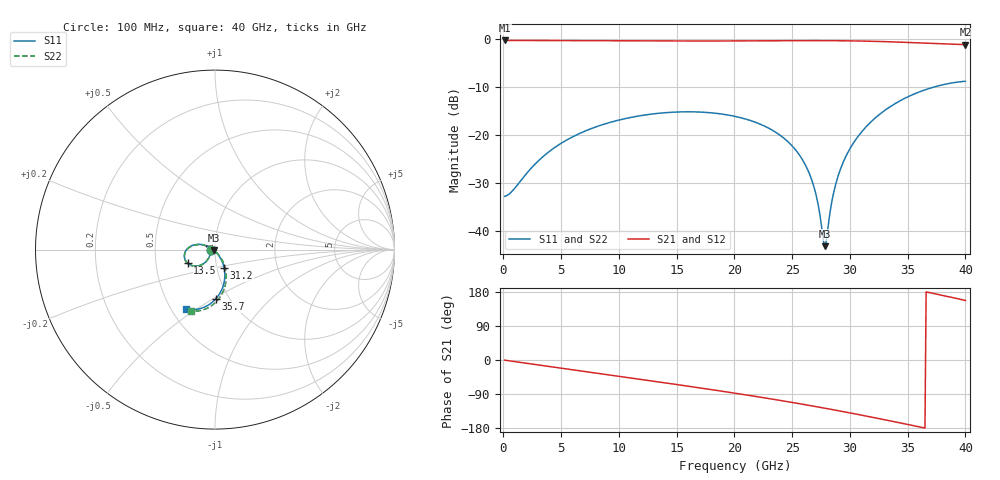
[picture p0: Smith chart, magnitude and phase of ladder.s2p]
! E_s8_L1L8_p1000_round_g4: via ladder as kisi uses it (kisi_si::via_pbm, graded grid, junction model), differential mode (per line 50 ohm)
# Hz S RI R 50
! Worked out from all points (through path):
!   400 points, 100 MHz to 40 GHz, reference 50 ohm
!   highest |S21| = -0.20 dB at 100 MHz (marker M1); lowest = -1.1 dB at 40 GHz (marker M2)
!   group delay of S21, straight-line fit = 13.8 ps
!   lowest |S11| = -43.1 dB at 27.8 GHz (marker M3), VSWR 1.01, Z = 49.5 - j0.451 ohm
!   |S11| at or under -10 dB: start of sweep to 37.17 GHz
!   |S22| runs from -43.9 to -8.7 dB; largest |S21 - S12| = 0
!   S11 on the Smith chart (normalised r, x): 100 MHz: 0.96, -0.00; 13.5 GHz: 0.73, -0.11; 31.2 GHz: 1.08, -0.23; 35.7 GHz: 0.87, -0.51; 40 GHz: 0.59, -0.45
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1e8  -0.023 -0.00148  0.977 -0.00732  0.977 -0.00732  -0.023 -0.00148
3.6e9  -0.0372 -0.0502  0.9402 -0.26  0.9402 -0.26  -0.0371 -0.0504
6.8e9  -0.0697 -0.0815  0.8487 -0.4742  0.8487 -0.4742  -0.0695 -0.082
9.9e9  -0.11 -0.0919  0.7135 -0.6544  0.7135 -0.6544  -0.1097 -0.0928
1.34e10  -0.1511 -0.0769  0.5155 -0.8152  0.5155 -0.8152  -0.1508 -0.0785
1.35e10  -0.152 -0.0761  0.5093 -0.819  0.5093 -0.819  -0.1517 -0.0777
2.01e10  -0.1571 0.0014  0.0366 -0.9653  0.0366 -0.9653  -0.1574 -0.00136
2.25e10  -0.1242 0.024  -0.1575 -0.9564  -0.1575 -0.9564  -0.1249 0.0214
2.43e10  -0.0881 0.0295  -0.3063 -0.9222  -0.3063 -0.9222  -0.0889 0.0276
2.57e10  -0.0556 0.0239  -0.4213 -0.8772  -0.4213 -0.8772  -0.0561 0.0227
2.67e10  -0.0313 0.0136  -0.5014 -0.8344  -0.5014 -0.8344  -0.0315 0.013
2.73e10  -0.0169 0.00457  -0.5481 -0.8042  -0.5481 -0.8042  -0.0168 0.00448
2.78e10  -0.00527 -0.00456  -0.586 -0.7766  -0.586 -0.7766  -0.00475 -0.00425
2.79e10  -0.00299 -0.00656  -0.5935 -0.7708  -0.5935 -0.7708  -0.00239 -0.00618
2.82e10  0.0037 -0.0129  -0.6155 -0.7527  -0.6155 -0.7527  0.00457 -0.0123
2.85e10  0.0102 -0.0198  -0.6371 -0.7339  -0.6371 -0.7339  0.0113 -0.019
2.9e10  0.0203 -0.0325  -0.672 -0.7007  -0.672 -0.7007  0.022 -0.0312
2.99e10  0.036 -0.0587  -0.7306 -0.6352  -0.7306 -0.6352  0.039 -0.0568
3.12e10  0.0511 -0.1034  -0.804 -0.5287  -0.804 -0.5287  0.0564 -0.1007
3.34e10  0.0492 -0.1895  -0.8899 -0.3229  -0.8899 -0.3229  0.0596 -0.1867
3.57e10  0.00459 -0.2742  -0.9201 -0.0885  -0.9201 -0.0885  0.0213 -0.2736
4e10  -0.1609 -0.3295  -0.8137 0.3439  -0.8137 0.3439  -0.1361 -0.3408
